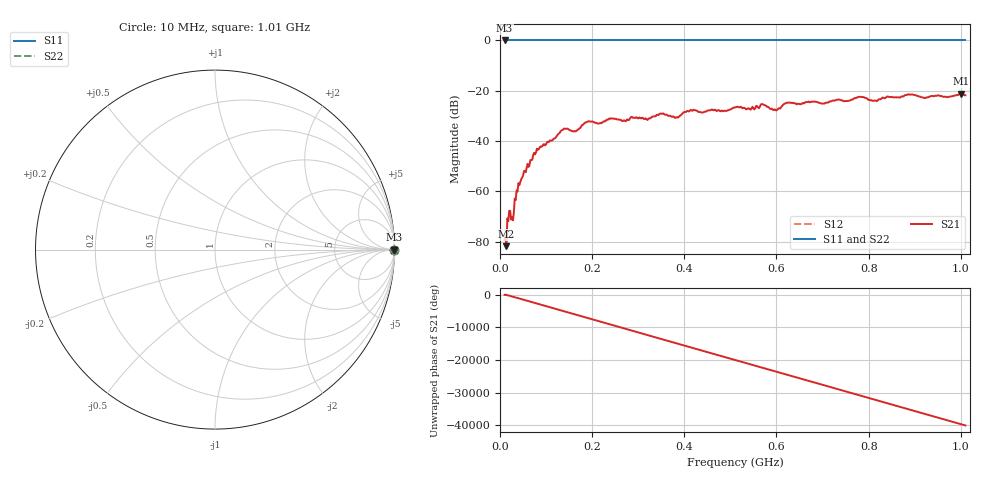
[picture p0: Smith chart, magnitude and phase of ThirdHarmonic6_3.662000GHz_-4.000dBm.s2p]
! 8/17/2025 12:21:15 PM
! C:\ANRITSUVNA\TEMP\TEMP.S2P
! CHANNEL.1
! TR.MEASUREMENT
! RAW.DATA
! RF.CORRECTION.OFF
! AVERAGING.OFF
! IF.BANDWIDTH: 5KHZ
! SWEEPTYPE:  FREQ.SWEEP(Linear)
! Reference Plane Port Info
! PORT:  PORT1  PORT2
! DISTANCE:  0  m  0  m
! TIME:  0  s  0  s
! PHASE.OFFSET:  0  deg.  0  deg.
! LOSS:  0  dB  0  dB
! REF.LOSS:  0  dB  0  dB
! REF.FREQ:  0  Hz  0  Hz
! Power Info
! POWER:  -20  dBm  -20  dBm
! EFF.POWER:  -20  dBm  -20  dBm
! SOURCE.ATTEN:  0  dB  0  dB
! TEST.ATTEN:  0  dB  0  dB
# GHZ S RI R 50.0
! FREQ.GHZ  S11RE  S11IM  S21RE  S21IM  S12RE  S12IM  S22RE  S22IM
!; PortSelection: Port_12
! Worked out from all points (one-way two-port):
!   501 points, 10 MHz to 1.01 GHz, reference 50 ohm
!   highest |S21| = -21.20 dB at 1 GHz (marker M1); lowest = -81.9 dB at 14 MHz (marker M2)
!   lowest |S11| = 0.0 dB at 10 MHz (marker M3)
!   |S11| at or under -10 dB: nowhere
!   |S22| runs from 0.0 to 0.0 dB; largest |S21 - S12| = 1.1
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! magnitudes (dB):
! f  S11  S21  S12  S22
! 10 MHz  0.0  -79.3  0.0  0.0
! 14 MHz  0.0  -81.9  0.0  0.0
! 20 MHz  0.0  -67.8  0.0  0.0
! 28 MHz  0.0  -71.6  0.0  0.0
! 40 MHz  0.0  -56.7  0.0  0.0
! 76 MHz  0.0  -45.4  0.0  0.0
! 136 MHz  0.0  -35.6  0.0  0.0
! 162 MHz  0.0  -36.0  0.0  0.0
! 178 MHz  0.0  -33.7  0.0  0.0
! 192 MHz  0.0  -32.2  0.0  0.0
! 322 MHz  0.0  -31.2  0.0  0.0
! 344 MHz  0.0  -29.7  0.0  0.0
! 384 MHz  0.0  -30.5  0.0  0.0
! 416 MHz  0.0  -27.9  0.0  0.0
! 510 MHz  0.0  -26.7  0.0  0.0
! 570 MHz  0.0  -25.4  0.0  0.0
! 598 MHz  0.0  -27.6  0.0  0.0
! 624 MHz  0.0  -24.8  0.0  0.0
! 678 MHz  0.0  -24.4  0.0  0.0
! 844 MHz  0.0  -22.4  0.0  0.0
! 1 GHz  0.0  -21.2  0.0  0.0
! 1.01 GHz  0.0  -21.8  0.0  0.0
